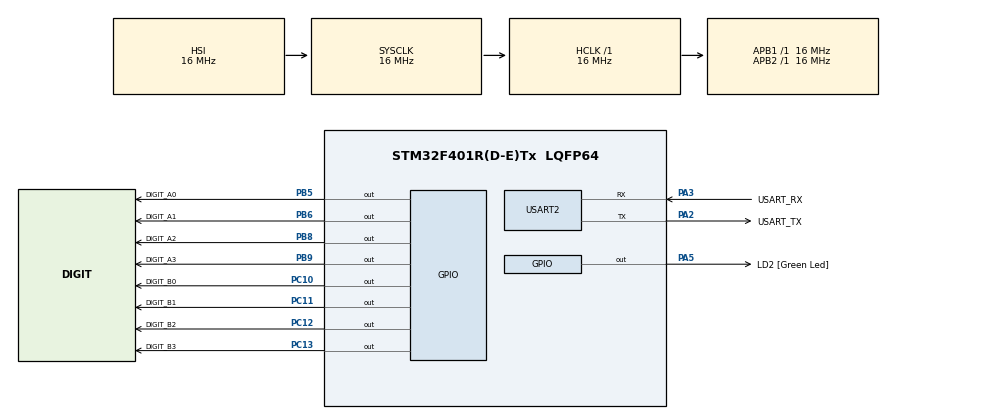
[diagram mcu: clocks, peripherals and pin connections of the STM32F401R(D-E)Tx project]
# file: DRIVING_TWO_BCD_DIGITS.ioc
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Mcu.Family=STM32F4
Mcu.Name=STM32F401R(D-E)Tx
Mcu.Package=LQFP64
NVIC.PriorityGroup=NVIC_PRIORITYGROUP_4
PA13.GPIO_Label=TMS
PA13.Mode=Trace_Asynchronous_SW
PA13.Signal=SYS_JTMS-SWDIO
PA14.GPIO_Label=TCK
PA14.Mode=Trace_Asynchronous_SW
PA14.Signal=SYS_JTCK-SWCLK
PA2.GPIO_Label=USART_TX
PA2.GPIO_Mode=GPIO_MODE_AF_PP
PA2.GPIO_PuPd=GPIO_NOPULL
PA2.GPIO_Speed=GPIO_SPEED_FREQ_LOW
PA2.Mode=Asynchronous
PA2.Signal=USART2_TX
PA3.GPIO_Label=USART_RX
PA3.GPIO_Mode=GPIO_MODE_AF_PP
PA3.GPIO_PuPd=GPIO_NOPULL
PA3.GPIO_Speed=GPIO_SPEED_FREQ_LOW
PA3.Mode=Asynchronous
PA3.Signal=USART2_RX
PA5.GPIO_Label=LD2 [Green Led]
PA5.GPIO_Mode=GPIO_MODE_OUTPUT_PP
PA5.GPIO_PuPd=GPIO_NOPULL
PA5.GPIO_Speed=GPIO_SPEED_FREQ_LOW
PA5.Signal=GPIO_Output
PB3.GPIO_Label=SWO
PB3.Mode=Trace_Asynchronous_SW
PB3.Signal=SYS_JTDO-SWO
PB5.GPIO_Label=DIGIT_A0
PB5.Signal=GPIO_Output
PB6.GPIO_Label=DIGIT_A1
PB6.Signal=GPIO_Output
PB8.GPIO_Label=DIGIT_A2
PB8.Signal=GPIO_Output
PB9.GPIO_Label=DIGIT_A3
PB9.Signal=GPIO_Output
PC10.GPIO_Label=DIGIT_B0
PC10.Signal=GPIO_Output
PC11.GPIO_Label=DIGIT_B1
PC11.Signal=GPIO_Output
PC12.GPIO_Label=DIGIT_B2
PC12.Signal=GPIO_Output
PC13-ANTI_TAMP.GPIO_Label=DIGIT_B3
PC13-ANTI_TAMP.Signal=GPIO_Output
PC14-OSC32_IN.Mode=LSE-External-Oscillator
PC14-OSC32_IN.Signal=RCC_OSC32_IN
PC15-OSC32_OUT.Mode=LSE-External-Oscillator
PC15-OSC32_OUT.Signal=RCC_OSC32_OUT
PH0\ -\ OSC_IN.Mode=HSE-External-Clock-Source
PH0\ -\ OSC_IN.Signal=RCC_OSC_IN
PH1\ -\ OSC_OUT.Mode=HSE-External-Clock-Source
PH1\ -\ OSC_OUT.Signal=RCC_OSC_OUT
ProjectManager.HeapSize=0x200
ProjectManager.StackSize=0x400
ProjectManager.TargetToolchain=STM32CubeIDE
RCC.48MHZClocksFreq_Value=48000000
RCC.AHBFreq_Value=16000000
RCC.APB1Freq_Value=16000000
RCC.APB1TimFreq_Value=16000000
RCC.APB2Freq_Value=16000000
RCC.APB2TimFreq_Value=16000000
RCC.CortexFreq_Value=16000000
RCC.HCLKFreq_Value=16000000
RCC.HSE_VALUE=8000000
RCC.HSI_VALUE=16000000
RCC.PLLN=336
RCC.PLLP=RCC_PLLP_DIV4
RCC.PLLQ=7
RCC.SYSCLKFreq_VALUE=16000000
RCC.VCOOutputFreq_Value=336000000
USART2.VirtualMode=VM_ASYNC
board=NUCLEO-F401RE

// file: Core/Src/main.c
/* USER CODE BEGIN Header */
/**
  ******************************************************************************
  * @file           : main.c
  * @brief          : Main program body
  ******************************************************************************
  * @attention
  *
  * Copyright (c) 2025 STMicroelectronics.
  * All rights reserved.
  *
  * This software is licensed under terms that can be found in the LICENSE file
  * in the root directory of this software component.
  * If no LICENSE file comes with this software, it is provided AS-IS.
  *
  ******************************************************************************
  */
/* USER CODE END Header */
#include "main.h"

/* USER CODE BEGIN Includes */
#include <string.h>
#include <stdio.h>
/* USER CODE END Includes */

UART_HandleTypeDef huart2;

/* USER CODE BEGIN PV */
uint8_t bin_count = 0;	// 8 bit bin counter to count from 0 to 99
/* USER CODE END PV */

void SystemClock_Config(void);
static void MX_GPIO_Init(void);
static void MX_USART2_UART_Init(void);

int main(void)
{

  /* USER CODE BEGIN 1 */
uint8_t ones = 0;
uint8_t tens = 0;

void DIGITS_Display(uint8_t DIGIT_A, uint8_t DIGIT_B)
{
	 uint8_t DIGITA_VAL = 0x0F & DIGIT_A; //mask off higher4 bits
	 int Abit0 = (DIGITA_VAL ) & 1;  	// extract Abit0 of the 4-bit value
	 int Abit1 = (DIGITA_VAL >> 1) & 1;  // extract Abit1 of the 4-bit value
	 int Abit2 = (DIGITA_VAL >> 2) & 1;  // extract Abit2 of the 4-bit value
	 int Abit3 = (DIGITA_VAL >> 3) & 1;  // extract Abit3 of the 4-bit value

	 uint8_t DIGITB_VAL = 0x0F & DIGIT_B; //mask off higher4 bits
	 int Bbit0 = (DIGITB_VAL ) & 1;  	// extract Bbit0 of the 4-bit value
	 int Bbit1 = (DIGITB_VAL >> 1) & 1;  // extract Bbit1 of the 4-bit value
	 int Bbit2 = (DIGITB_VAL >> 2) & 1;  // extract Bbit2 of the 4-bit value
	 int Bbit3 = (DIGITB_VAL >> 3) & 1;  // extract Bbit3 of the 4-bit value

	 if (Abit0 == (0))
	 {
		 HAL_GPIO_WritePin(GPIOB, DIGIT_A0_Pin, GPIO_PIN_RESET);
	 }
	 else
	 {
		 HAL_GPIO_WritePin(GPIOB, DIGIT_A0_Pin, GPIO_PIN_SET);

	 }
	 if (Abit1 == (0))
	 {
		 HAL_GPIO_WritePin(GPIOB, DIGIT_A1_Pin, GPIO_PIN_RESET);
	 }
	 else
	 {
		 HAL_GPIO_WritePin(GPIOB, DIGIT_A1_Pin, GPIO_PIN_SET);

	 }
	 if (Abit2 == (0))
	 {
		 HAL_GPIO_WritePin(GPIOB, DIGIT_A2_Pin, GPIO_PIN_RESET);
	 }
	 else
	 {
		 HAL_GPIO_WritePin(GPIOB, DIGIT_A2_Pin, GPIO_PIN_SET);

	 }
	 if (Abit3 == (0))
	 {
		 HAL_GPIO_WritePin(GPIOB, DIGIT_A3_Pin, GPIO_PIN_RESET);
	 }
	 else
	 {
		 HAL_GPIO_WritePin(GPIOB, DIGIT_A3_Pin, GPIO_PIN_SET);

	 }

	 if (Bbit0 == (0))
	 {
		 HAL_GPIO_WritePin(GPIOC, DIGIT_B0_Pin, GPIO_PIN_RESET);
	 }
	 else
	 {
		 HAL_GPIO_WritePin(GPIOC, DIGIT_B0_Pin, GPIO_PIN_SET);

	 }
	 if (Bbit1 == (0))
	 {
		 HAL_GPIO_WritePin(GPIOC, DIGIT_B1_Pin, GPIO_PIN_RESET);
	 }
	 else
	 {
		 HAL_GPIO_WritePin(GPIOC, DIGIT_B1_Pin, GPIO_PIN_SET);

	 }
	 if (Bbit2 == (0))
	 {
		 HAL_GPIO_WritePin(GPIOC, DIGIT_B2_Pin, GPIO_PIN_RESET);
	 }
	 else
	 {
		 HAL_GPIO_WritePin(GPIOC, DIGIT_B2_Pin, GPIO_PIN_SET);

	 }
	 if (Bbit3 == (0))
	 {
		 HAL_GPIO_WritePin(GPIOC, DIGIT_B3_Pin, GPIO_PIN_RESET);
	 }
	 else
	 {
		 HAL_GPIO_WritePin(GPIOC, DIGIT_B3_Pin, GPIO_PIN_SET);

	 }
}

  /* USER CODE END 1 */

  /* MCU Configuration--------------------------------------------------------*/

  /* Reset of all peripherals, Initializes the Flash interface and the Systick. */
  HAL_Init();

  /* Configure the system clock */
  SystemClock_Config();

  /* Initialize all configured peripherals */
  MX_GPIO_Init();
  MX_USART2_UART_Init();

  /* Infinite loop */
  /* USER CODE BEGIN WHILE */
  while (1)
  {
	for(uint8_t i=0; i<=99; i++)
	{
		bin_count = i;
		ones = bin_count%10;
		tens = bin_count/10;
		DIGITS_Display(tens, ones);
		HAL_Delay(200); // ADD DELAY IN EACH LOOP
	}

    /* USER CODE END WHILE */

  }
}

void SystemClock_Config(void)
{
  RCC_OscInitTypeDef RCC_OscInitStruct = {0};
  RCC_ClkInitTypeDef RCC_ClkInitStruct = {0};

  /** Configure the main internal regulator output voltage
  */
  __HAL_RCC_PWR_CLK_ENABLE();
  __HAL_PWR_VOLTAGESCALING_CONFIG(PWR_REGULATOR_VOLTAGE_SCALE2);

  /** Initializes the RCC Oscillators according to the specified parameters
  * in the RCC_OscInitTypeDef structure.
  */
  RCC_OscInitStruct.OscillatorType = RCC_OSCILLATORTYPE_HSI;
  RCC_OscInitStruct.HSIState = RCC_HSI_ON;
  RCC_OscInitStruct.HSICalibrationValue = RCC_HSICALIBRATION_DEFAULT;
  RCC_OscInitStruct.PLL.PLLState = RCC_PLL_NONE;
  if (HAL_RCC_OscConfig(&RCC_OscInitStruct) != HAL_OK)
  {
    Error_Handler();
  }

  /** Initializes the CPU, AHB and APB buses clocks
  */
  RCC_ClkInitStruct.ClockType = RCC_CLOCKTYPE_HCLK|RCC_CLOCKTYPE_SYSCLK
                              |RCC_CLOCKTYPE_PCLK1|RCC_CLOCKTYPE_PCLK2;
  RCC_ClkInitStruct.SYSCLKSource = RCC_SYSCLKSOURCE_HSI;
  RCC_ClkInitStruct.AHBCLKDivider = RCC_SYSCLK_DIV1;
  RCC_ClkInitStruct.APB1CLKDivider = RCC_HCLK_DIV1;
  RCC_ClkInitStruct.APB2CLKDivider = RCC_HCLK_DIV1;

  if (HAL_RCC_ClockConfig(&RCC_ClkInitStruct, FLASH_LATENCY_0) != HAL_OK)
  {
    Error_Handler();
  }
}

static void MX_USART2_UART_Init(void)
{

  huart2.Instance = USART2;
  huart2.Init.BaudRate = 115200;
  huart2.Init.WordLength = UART_WORDLENGTH_8B;
  huart2.Init.StopBits = UART_STOPBITS_1;
  huart2.Init.Parity = UART_PARITY_NONE;
  huart2.Init.Mode = UART_MODE_TX_RX;
  huart2.Init.HwFlowCtl = UART_HWCONTROL_NONE;
  huart2.Init.OverSampling = UART_OVERSAMPLING_16;
  if (HAL_UART_Init(&huart2) != HAL_OK)
  {
    Error_Handler();
  }

}

static void MX_GPIO_Init(void)
{
  GPIO_InitTypeDef GPIO_InitStruct = {0};

  /* GPIO Ports Clock Enable */
  __HAL_RCC_GPIOC_CLK_ENABLE();
  __HAL_RCC_GPIOH_CLK_ENABLE();
  __HAL_RCC_GPIOA_CLK_ENABLE();
  __HAL_RCC_GPIOB_CLK_ENABLE();

  /*Configure GPIO pin Output Level */
  HAL_GPIO_WritePin(GPIOC, DIGIT_B3_Pin|DIGIT_B0_Pin|DIGIT_B1_Pin|DIGIT_B2_Pin, GPIO_PIN_RESET);

  /*Configure GPIO pin Output Level */
  HAL_GPIO_WritePin(LD2_GPIO_Port, LD2_Pin, GPIO_PIN_RESET);

  /*Configure GPIO pin Output Level */
  HAL_GPIO_WritePin(GPIOB, DIGIT_A0_Pin|DIGIT_A1_Pin|DIGIT_A2_Pin|DIGIT_A3_Pin, GPIO_PIN_RESET);

  /*Configure GPIO pins : DIGIT_B3_Pin DIGIT_B0_Pin DIGIT_B1_Pin DIGIT_B2_Pin */
  GPIO_InitStruct.Pin = DIGIT_B3_Pin|DIGIT_B0_Pin|DIGIT_B1_Pin|DIGIT_B2_Pin;
  GPIO_InitStruct.Mode = GPIO_MODE_OUTPUT_PP;
  GPIO_InitStruct.Pull = GPIO_NOPULL;
  GPIO_InitStruct.Speed = GPIO_SPEED_FREQ_LOW;
  HAL_GPIO_Init(GPIOC, &GPIO_InitStruct);

  /*Configure GPIO pin : LD2_Pin */
  GPIO_InitStruct.Pin = LD2_Pin;
  GPIO_InitStruct.Mode = GPIO_MODE_OUTPUT_PP;
  GPIO_InitStruct.Pull = GPIO_NOPULL;
  GPIO_InitStruct.Speed = GPIO_SPEED_FREQ_LOW;
  HAL_GPIO_Init(LD2_GPIO_Port, &GPIO_InitStruct);

  /*Configure GPIO pins : DIGIT_A0_Pin DIGIT_A1_Pin DIGIT_A2_Pin DIGIT_A3_Pin */
  GPIO_InitStruct.Pin = DIGIT_A0_Pin|DIGIT_A1_Pin|DIGIT_A2_Pin|DIGIT_A3_Pin;
  GPIO_InitStruct.Mode = GPIO_MODE_OUTPUT_PP;
  GPIO_InitStruct.Pull = GPIO_NOPULL;
  GPIO_InitStruct.Speed = GPIO_SPEED_FREQ_LOW;
  HAL_GPIO_Init(GPIOB, &GPIO_InitStruct);

}

void Error_Handler(void)
{
  __disable_irq();
  while (1)
  {
  }
}
